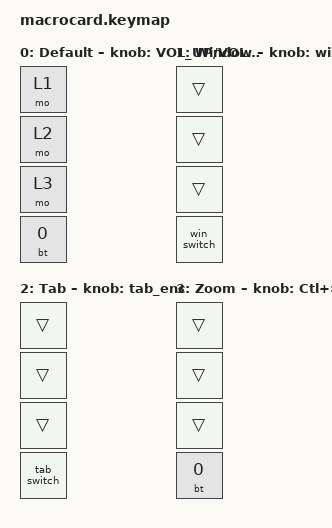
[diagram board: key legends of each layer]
#include <behaviors/rgbled_widget.dtsi>
// #include <behaviors/smart_toggle.dtsi>
#include <dt-bindings/zmk/keys.h>
#include <dt-bindings/zmk/bt.h>

/ {
    behaviors {
        // Window switcher behavior using smart toggle
        win_switch: win_switch {
            compatible = "zmk,behavior-smart-toggle";
            #binding-cells = <0>;
            bindings = <&kp LALT>, <&kp TAB>;
            ignored-key-positions = <3>; // Encoder switch position
        };
        
        // Tab switcher behavior using smart toggle
        tab_switch: tab_switch {
            compatible = "zmk,behavior-smart-toggle";
            #binding-cells = <0>;
            bindings = <&kp LCTRL>, <&kp TAB>;
            ignored-key-positions = <3>; // Encoder switch position
        };
        
        // Hold/tap behavior for encoder switch - tap for toggle off, hold for BT clear
        enc_ht: enc_ht {
            compatible = "zmk,behavior-hold-tap";
            #binding-cells = <2>;
            flavor = "hold-preferred";
            tapping-term-ms = <1000>;
            bindings = <&bt BT_CLR>, <&kp ENTER>;
        };
        
        // Window switcher encoder behavior
        win_enc: win_enc {
            compatible = "zmk,behavior-sensor-rotate";
            #sensor-binding-cells = <0>;
            bindings = <&win_switch>, <&kp LS(TAB)>;
        };
        
        // Tab switcher encoder behavior
        tab_enc: tab_enc {
            compatible = "zmk,behavior-sensor-rotate";
            #sensor-binding-cells = <0>;
            bindings = <&tab_switch>, <&kp LS(TAB)>;
        };
    };

    keymap {
        compatible = "zmk,keymap";

        default_layer {
            display-name = "Default";
            bindings = <
                &mo 1           // Switch 1 - Window switcher layer
                &mo 2           // Switch 2 - Tab switcher layer  
                &mo 3           // Switch 3 - Zoom layer
                &enc_ht 0 0     // Encoder switch - hold for BT clear
            >;
            
            sensor-bindings = <&inc_dec_kp C_VOL_UP C_VOL_DN>;
        };

        window_layer {
            display-name = "Window";
            bindings = <
                &trans          // Switch 1 - transparent
                &trans          // Switch 2 - transparent
                &trans          // Switch 3 - transparent
                &win_switch     // Encoder switch - toggle alt off
            >;
            
            sensor-bindings = <&win_enc>;
        };

        tab_layer {
            display-name = "Tab";
            bindings = <
                &trans          // Switch 1 - transparent
                &trans          // Switch 2 - transparent
                &trans          // Switch 3 - transparent
                &tab_switch     // Encoder switch - toggle ctrl off
            >;
            
            sensor-bindings = <&tab_enc>;
        };

        zoom_layer {
            display-name = "Zoom";
            bindings = <
                &trans          // Switch 1 - transparent
                &trans          // Switch 2 - transparent
                &trans          // Switch 3 - transparent
                &enc_ht 0 0     // Encoder switch - hold for BT clear
            >;
            
            sensor-bindings = <&inc_dec_kp LC(EQUAL) LC(MINUS)>;
        };
    };
};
